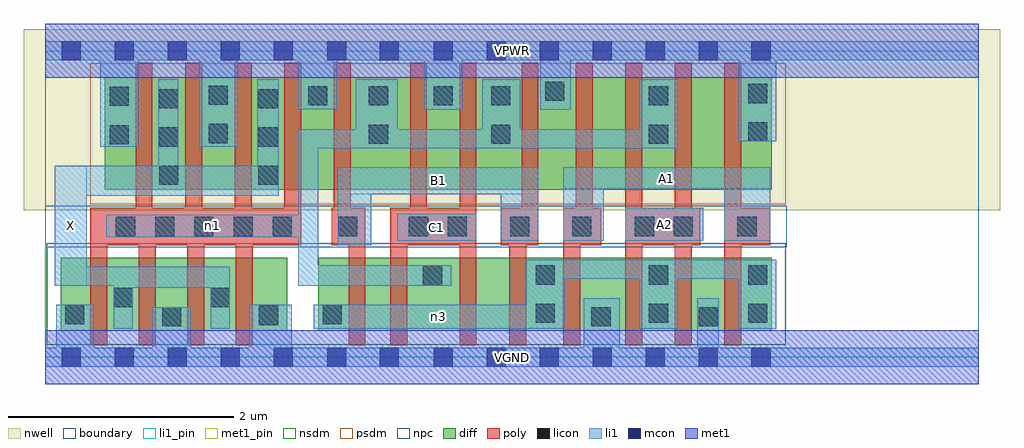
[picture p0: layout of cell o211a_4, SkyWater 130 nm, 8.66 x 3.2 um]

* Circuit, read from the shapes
.subckt o211a_4 A1 A2 B1 C1 VGND VPWR X n1 n3
XM1 X n1 VGND VSUBS sky130_fd_pr__nfet_01v8 w=0.65 l=0.15 m=4
XM2 n2 B1 n3 VSUBS sky130_fd_pr__nfet_01v8 w=0.65 l=0.15
XM3 n1 C1 n2 VSUBS sky130_fd_pr__nfet_01v8 w=0.65 l=0.15
XM4 n4 C1 n1 VSUBS sky130_fd_pr__nfet_01v8 w=0.65 l=0.15
XM5 n3 B1 n4 VSUBS sky130_fd_pr__nfet_01v8 w=0.65 l=0.15
XM6 VGND A1 n3 VSUBS sky130_fd_pr__nfet_01v8 w=0.65 l=0.15 m=2
XM7 n3 A2 VGND VSUBS sky130_fd_pr__nfet_01v8 w=0.65 l=0.15 m=2
XM8 X n1 VPWR n5 sky130_fd_pr__pfet_01v8 w=1 l=0.15 m=4
XM9 n1 B1 VPWR n5 sky130_fd_pr__pfet_01v8 w=1 l=0.15 m=2
XM10 VPWR C1 n1 n5 sky130_fd_pr__pfet_01v8 w=1 l=0.15 m=2
XM11 n6 A1 VPWR n5 sky130_fd_pr__pfet_01v8 w=1 l=0.15
XM12 n1 A2 n6 n5 sky130_fd_pr__pfet_01v8 w=1 l=0.15
XM13 n7 A2 n1 n5 sky130_fd_pr__pfet_01v8 w=1 l=0.15
XM14 VPWR A1 n7 n5 sky130_fd_pr__pfet_01v8 w=1 l=0.15
.ends

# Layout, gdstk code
import gdstk
lib = gdstk.Library(unit=1e-6, precision=1e-09)
def R(c, l, rs):  # rectangles x0, y0, x1, y1
    for r in rs: c.add(gdstk.rectangle(r[:2], r[2:], *l))
def A(c, l, x, y, w, h, nx, ny, dx, dy):  # array of equal rectangles
    R(c, l, [(x+i*dx, y+j*dy, x+i*dx+w, y+j*dy+h) for i in range(nx) for j in range(ny)])
nwell = (64, 20)
diff = (65, 20)
poly = (66, 20)
licon = (66, 44)
li1_pin = (67, 16)
li1 = (67, 20)
mcon = (67, 44)
met1_pin = (68, 16)
met1 = (68, 20)
nsdm = (93, 44)
psdm = (94, 20)
npc = (95, 20)
boundary = (235, 4)

o211a_4 = lib.new_cell('o211a_4')
R(o211a_4, nwell, [(-0.19,1.305,8.47,2.91), (0,1.305,8.28,2.91)])
R(o211a_4, diff, [(0.135,0.235,2.145,0.885), (2.42,0.235,6.445,0.885), (0.525,1.485,6.445,2.485)])
A(o211a_4, poly, 0.4, 0.105, 0.15, 1.22, 4, 1, 0.43, 0)
A(o211a_4, poly, 5.145, 0.105, 0.15, 2.51, 3, 1, 0.44, 0)
A(o211a_4, poly, 0.8, 0.995, 0.15, 1.62, 4, 1, 0.44, 0)
R(o211a_4, poly, [(2.69,0.105,2.84,1.325), (3.06,0.105,3.21,1.325), (3.675,0.105,3.825,2.615), (4.115,0.105,4.265,1.325), (4.595,0.105,4.745,1.325), (0.4,0.995,2.27,1.325), (2.54,0.995,2.84,1.325), (2.56,0.995,2.69,2.615), (3.06,0.995,3.825,1.325), (3.235,0.995,3.385,2.615), (4.04,0.995,4.375,1.325), (4.225,0.995,4.375,2.615), (4.595,0.995,4.93,1.325), (4.705,0.995,4.855,2.615), (5.145,0.995,5.81,1.325), (6.025,0.995,6.43,1.325), (2.56,1.325,2.71,2.615)])
A(o211a_4, licon, 1.01, 1.53, 0.17, 0.17, 1, 3, 0, 0.34)
A(o211a_4, licon, 1.89, 1.53, 0.17, 0.17, 1, 3, 0, 0.34)
R(o211a_4, licon, [(1.035,0.275,1.205,0.445), (4.845,0.275,5.015,0.445), (5.795,0.275,5.965,0.445), (1.895,0.285,2.065,0.455), (0.175,0.295,0.345,0.465), (2.46,0.295,2.63,0.465), (4.35,0.305,4.52,0.475), (5.355,0.305,5.525,0.475), (6.235,0.305,6.405,0.475), (0.605,0.445,0.775,0.615), (1.465,0.445,1.635,0.615), (3.35,0.64,3.52,0.81), (4.35,0.645,4.52,0.815), (5.355,0.645,5.525,0.815), (6.235,0.645,6.405,0.815), (0.625,1.075,0.795,1.245), (0.975,1.075,1.145,1.245), (1.32,1.075,1.49,1.245), (1.67,1.075,1.84,1.245), (2.015,1.075,2.185,1.245), (2.595,1.075,2.765,1.245), (3.225,1.075,3.395,1.245), (3.57,1.075,3.74,1.245), (4.125,1.075,4.295,1.245), (4.675,1.075,4.845,1.245), (5.23,1.075,5.4,1.245), (5.575,1.075,5.745,1.245), (6.14,1.075,6.31,1.245), (0.57,1.89,0.74,2.06), (2.87,1.895,3.04,2.065), (3.955,1.895,4.125,2.065), (5.355,1.895,5.525,2.065), (1.45,1.9,1.62,2.07), (6.235,1.915,6.405,2.085), (0.57,2.23,0.74,2.4), (2.33,2.235,2.5,2.405), (2.87,2.235,3.04,2.405), (3.445,2.235,3.615,2.405), (3.955,2.235,4.125,2.405), (5.355,2.235,5.525,2.405), (1.45,2.24,1.62,2.41), (6.235,2.255,6.405,2.425), (4.435,2.275,4.605,2.445)])
R(o211a_4, li1_pin, [(0.085,0.635,0.365,1.7), (3.12,1.035,3.825,1.275), (5.145,1.035,5.835,1.325), (2.595,1.445,4.375,1.685), (4.595,1.495,6.43,1.685)])
R(o211a_4, li1, [(0,-0.085,8.28,0.085), (0.095,-0.085,0.43,0.465), (0.95,-0.085,1.29,0.445), (1.81,-0.085,2.185,0.465), (4.775,-0.085,5.095,0.525), (5.785,-0.085,5.975,0.525), (0.605,0.255,0.775,0.805), (1.465,0.255,1.635,0.805), (2.38,0.255,4.605,0.465), (4.265,0.255,4.605,0.865), (5.27,0.255,5.61,0.865), (6.15,0.255,6.485,0.865), (0.605,0.615,1.635,0.805), (0.085,0.635,1.635,0.805), (0.085,0.635,0.365,1.7), (2.245,0.635,3.6,0.815), (2.245,0.635,2.42,2.025), (4.265,0.695,6.485,0.865), (2.595,0.995,2.89,1.685), (3.12,1.035,3.825,1.275), (4.04,1.035,4.375,1.685), (4.595,1.035,4.955,1.685), (5.145,1.035,5.835,1.325), (6.025,1.035,6.43,1.685), (0.54,1.065,2.42,1.265), (0.085,1.435,2.07,1.7), (1,1.435,1.18,2.465), (1.88,1.435,2.07,2.465), (2.595,1.445,4.375,1.685), (4.595,1.495,6.43,1.685), (2.245,1.855,5.61,2.025), (2.755,1.855,3.125,2.465), (3.875,1.855,4.215,2.465), (5.27,1.855,5.61,2.465), (0.485,1.87,0.825,2.805), (1.365,1.87,1.705,2.805), (6.15,1.915,6.485,2.805), (3.36,2.195,3.7,2.805), (4.39,2.195,4.66,2.805), (2.245,2.2,2.585,2.805), (0,2.635,8.28,2.805)])
A(o211a_4, mcon, 0.145, -0.085, 0.17, 0.17, 5, 2, 0.47, 2.72)
A(o211a_4, mcon, 3.445, -0.085, 0.17, 0.17, 7, 2, 0.47, 2.72)
R(o211a_4, mcon, [(2.5,-0.085,2.67,0.085), (2.965,-0.085,3.135,0.085), (2.5,2.635,2.67,2.805), (2.965,2.635,3.135,2.805)])
R(o211a_4, met1_pin, [(0,-0.24,8.28,0.24), (0,2.48,8.28,2.96)])
R(o211a_4, met1, [(0,-0.24,8.28,0.24), (0,2.48,8.28,2.96)])
R(o211a_4, nsdm, [(0.01,0.11,6.57,1.01)])
R(o211a_4, psdm, [(0.4,1.36,6.57,2.61)])
R(o211a_4, npc, [(0,0.975,6.58,1.345)])
R(o211a_4, boundary, [(0,0,8.28,2.72)])
o211a_4.add(gdstk.Label('A1', (5.512,1.59), layer=67, texttype=5))
o211a_4.add(gdstk.Label('A2', (5.49,1.18), layer=67, texttype=5))
o211a_4.add(gdstk.Label('B1', (3.485,1.565), layer=67, texttype=5))
o211a_4.add(gdstk.Label('C1', (3.472,1.155), layer=67, texttype=5))
o211a_4.add(gdstk.Label('X', (0.225,1.167), layer=67, texttype=5))
o211a_4.add(gdstk.Label('n3', (3.492,0.36), layer=67, texttype=5))
o211a_4.add(gdstk.Label('n1', (1.48,1.165), layer=67, texttype=5))
o211a_4.add(gdstk.Label('VPWR', (4.14,2.72), layer=68, texttype=5))
o211a_4.add(gdstk.Label('VGND', (4.14,0), layer=68, texttype=5))
o211a_4.add(gdstk.Label('A1', (5.512,1.59), layer=67, texttype=16))
o211a_4.add(gdstk.Label('A2', (5.49,1.18), layer=67, texttype=16))
o211a_4.add(gdstk.Label('B1', (3.485,1.565), layer=67, texttype=16))
o211a_4.add(gdstk.Label('C1', (3.472,1.155), layer=67, texttype=16))
o211a_4.add(gdstk.Label('X', (0.225,1.167), layer=67, texttype=16))
o211a_4.add(gdstk.Label('VPWR', (4.14,2.72), layer=68, texttype=16))
o211a_4.add(gdstk.Label('VGND', (4.14,0), layer=68, texttype=16))

lib.write_gds('o211a_4.gds')
